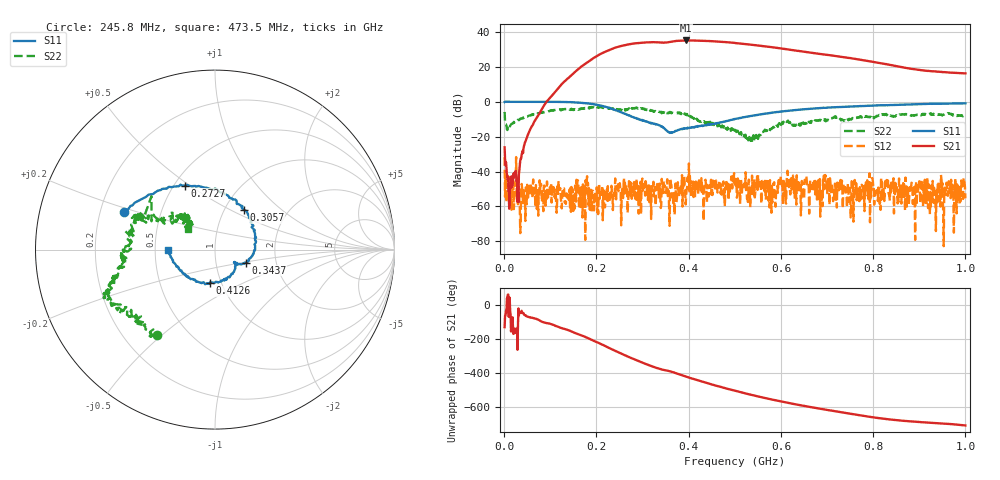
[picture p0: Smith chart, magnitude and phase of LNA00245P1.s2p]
! Created with skrf 1.9.0 (http://scikit-rf.org).
# Hz S RI R 50.0
!freq ReS11 ImS11 ReS21 ImS21 ReS12 ImS12 ReS22 ImS22
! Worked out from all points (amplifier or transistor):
!   1001 points, 1 MHz to 1 GHz, reference 50 ohm
!   highest |S21| = 35.1 dB at 394.6 MHz (marker M1)
!   |S21| within 3 dB of that: 256.6 MHz to 554 MHz (297.5 MHz wide, 73.4 % of centre)
!   unconditionally stable (mu >= 1): 2.579 MHz to 86.85 MHz; 240.9 MHz to 385.6 MHz; 400.9 MHz to end of sweep (the widest 3 of 29)
!   at 166.8 MHz: K = 1.62, MAG = 31.0 dB, |S12| = -51.2 dB
!   at 500.5 MHz: K = 1.64, MAG = 34.5 dB, |S12| = -44.7 dB
!   at 1 GHz: K = 7.30, MAG = 24.2 dB, |S12| = -55.3 dB
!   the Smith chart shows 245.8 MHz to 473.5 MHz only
!   S11 on the Smith chart (normalised r, x): 245.8 MHz: 0.30, +0.18; 272.7 MHz: 0.57, +0.48; 305.7 MHz: 1.22, +0.59; 343.7 MHz: 1.39, -0.21; 412.6 MHz: 0.88, -0.34; 473.5 MHz: 0.59, -0.00
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1000000  0.9826 -0.0082  -0.0319 -0.0377  -0.0251 0.00544  0.368 0.3509
1.07893e8  0.5189 -0.8476  -0.8111 -1.535  0.00149 -0.00223  0.4253 -0.3947
1.67833e8  -0.2607 -0.8899  -10.24 -0.2487  0.00314 0.00279  0.0199 -0.6434
2.1079e8  -0.6877 -0.3413  -15.28 18.37  -0.00172 0.00145  -0.2473 -0.6629
2.45755e8  -0.5061 0.2086  3.616 36.69  -0.00298 0.000892  -0.3255 -0.4739
2.72728e8  -0.1676 0.3567  27.81 34.93  -0.00191 0.000972  -0.5503 -0.3261
3.05695e8  0.1598 0.2221  47.8 12.28  0.000988 0.00179  -0.5627 -0.1947
3.34666e8  0.2146 -0.024  48.49 -12.01  0.00168 0.00303  -0.514 -0.0634
3.43657e8  0.1709 -0.0727  46.08 -17.51  5.53e-05 0.00362  -0.505 -0.00621
3.7063e8  0.1142 -0.0833  42.15 -34.61  -0.00181 0.00211  -0.4454 0.1519
3.94606e8  0.0632 -0.1612  26.83 -49.99  0.000611 0.00196  -0.4136 0.165
4.12588e8  -0.0274 -0.1873  12.22 -54.83  0.00346 0.00349  -0.2765 0.1345
4.41559e8  -0.162 -0.1414  -10.77 -53.85  0.00275 0.00236  -0.1846 0.1798
4.73527e8  -0.2602 -0.00153  -30.22 -41.77  0.000943 -0.00269  -0.149 0.1126
5.005e8  -0.284 0.1485  -39.7 -27.35  0.000414 0.00583  -0.1254 0.093
5.36464e8  -0.2057 0.3367  -41.89 -7.661  0.00145 0.00127  -0.0879 0.00185
5.83417e8  0.00387 0.4893  -33.9 11.63  0.00363 -0.00263  -0.1798 -0.0593
6.21379e8  0.1836 0.53  -23.56 19.53  0.00186 -0.00492  -0.2541 -0.0991
6.67333e8  0.398 0.4883  -11.33 22.21  0.00194 0.00188  -0.2732 0.0179
7.53247e8  0.6726 0.2812  3.639 17.07  0.00315 -0.00415  -0.3006 0.0904
8.34166e8  0.7953 0.0238  7.924 8.28  -0.00181 0.00126  -0.3764 0.1511
1e9  0.7301 -0.5243  6.39 1.15  -0.00141 0.000967  -0.12 0.3709
